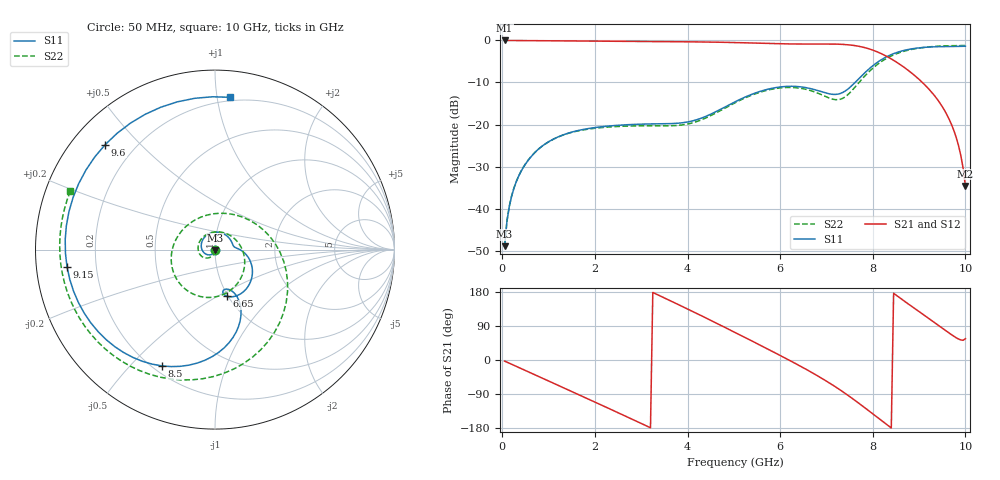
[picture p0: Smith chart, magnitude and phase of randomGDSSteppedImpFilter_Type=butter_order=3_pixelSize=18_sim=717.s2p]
! freq	dB(S11)	phase(S11)	dB(S12)	phase(S12)
!  dB(S21)	phase(S21)	dB(S22)	phase(S22)
!S-par simulation data
#  GHz  S  DB  R 50
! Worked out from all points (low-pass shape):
!   200 points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, 50 MHz to 10 GHz, reference 50 ohm
!   highest |S21| = -0.01 dB at 50 MHz (marker M1); lowest = -34.6 dB at 10 GHz (marker M2)
!   |S21| within 3 dB of the highest: start of sweep to 8.156 GHz
!   lowest |S11| = -48.9 dB at 50 MHz (marker M3), VSWR 1.01, Z = 50 - j0.357 ohm
!   |S11| at or under -10 dB: start of sweep to 7.618 GHz
!   |S22| runs from -48.9 to -1.2 dB; largest |S21 - S12| = 0
!   S11 on the Smith chart (normalised r, x): 50 MHz: 1.00, -0.01; 6.65 GHz: 0.99, -0.55; 8.5 GHz: 0.23, -0.62; 9.15 GHz: 0.09, -0.06; 9.6 GHz: 0.10, +0.40; 10 GHz: 0.18, +1.09
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0.05  -48.94 -87.0  -0.01 -2.8  -0.01 -2.8  -48.94 -85.4
0.2  -37.10 -102.6  -0.02 -11.2  -0.02 -11.2  -37.05 -96.7
0.5  -29.42 -125.4  -0.04 -27.8  -0.04 -27.8  -29.37 -110.5
1.15  -23.22 -173.2  -0.09 -63.8  -0.09 -63.8  -23.25 -136.9
1.75  -21.17 141.2  -0.14 -97.1  -0.14 -97.1  -21.28 -158.5
2.65  -20.08 72.4  -0.22 -147.6  -0.22 -147.6  -20.39 169.4
3.4  -19.84 27.2  -0.28 169.6  -0.28 169.6  -20.32 129.2
4.3  -18.48 4.3  -0.36 116.7  -0.36 116.7  -18.89 46.1
5.05  -14.47 -12.8  -0.51 71.2  -0.51 71.2  -14.68 -26.4
5.9  -11.23 -47.2  -0.77 18.3  -0.77 18.3  -11.44 -95.6
6.65  -11.44 -75.6  -0.86 -30.7  -0.86 -30.7  -11.90 -163.0
6.7  -11.57 -76.8  -0.85 -34.2  -0.85 -34.2  -12.07 -168.6
7.15  -12.84 -76.4  -0.86 -67.4  -0.86 -67.4  -14.01 124.2
7.5  -11.23 -65.5  -1.07 -96.3  -1.07 -96.3  -12.50 50.0
7.95  -6.48 -75.6  -2.11 -137.4  -2.11 -137.4  -7.11 -23.6
8.35  -3.61 -102.7  -4.09 -174.8  -4.09 -174.8  -3.95 -70.7
8.5  -2.94 -114.7  -5.08 171.6  -5.08 171.6  -3.21 -85.9
8.8  -2.08 -140.3  -7.42 145.0  -7.42 145.0  -2.22 -113.5
9.15  -1.62 -173.5  -10.86 114.7  -10.86 114.7  -1.61 -141.8
9.6  -1.45 136.2  -17.65 75.3  -17.65 75.3  -1.28 -174.8
9.85  -1.42 104.3  -24.94 55.5  -24.94 55.5  -1.23 168.1
10  -1.38 84.3  -34.64 56.2  -34.64 56.2  -1.22 158.0
